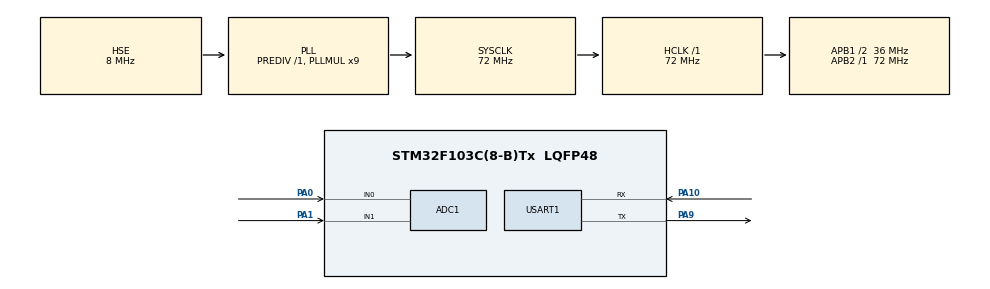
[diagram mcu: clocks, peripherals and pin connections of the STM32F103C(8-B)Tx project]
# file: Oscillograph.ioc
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ADC1.Channel-0\#ChannelRegularConversion=ADC_CHANNEL_0
ADC1.Channel-1\#ChannelRegularConversion=ADC_CHANNEL_1
ADC1.ExternalTrigConv=ADC_EXTERNALTRIGCONV_T2_CC2
ADC1.NbrOfConversion=2
ADC1.NbrOfConversionFlag=1
ADC1.Rank-0\#ChannelRegularConversion=1
ADC1.Rank-1\#ChannelRegularConversion=2
ADC1.SamplingTime-0\#ChannelRegularConversion=ADC_SAMPLETIME_1CYCLE_5
ADC1.SamplingTime-1\#ChannelRegularConversion=ADC_SAMPLETIME_1CYCLE_5
ADC1.master=1
Dma.ADC1.0.Direction=DMA_PERIPH_TO_MEMORY
Dma.ADC1.0.Instance=DMA1_Channel1
Dma.ADC1.0.MemDataAlignment=DMA_MDATAALIGN_HALFWORD
Dma.ADC1.0.MemInc=DMA_MINC_ENABLE
Dma.ADC1.0.Mode=DMA_CIRCULAR
Dma.ADC1.0.PeriphDataAlignment=DMA_PDATAALIGN_HALFWORD
Dma.ADC1.0.PeriphInc=DMA_PINC_DISABLE
Dma.ADC1.0.Priority=DMA_PRIORITY_LOW
Dma.Request0=ADC1
Mcu.Family=STM32F1
Mcu.Name=STM32F103C(8-B)Tx
Mcu.Package=LQFP48
NVIC.ADC1_2_IRQn=true\:0\:0\:false\:false\:true\:true\:true\:true
NVIC.DMA1_Channel1_IRQn=true\:0\:0\:false\:false\:true\:false\:true\:true
NVIC.PriorityGroup=NVIC_PRIORITYGROUP_4
NVIC.TIM2_IRQn=true\:0\:0\:false\:false\:true\:true\:true\:true
NVIC.TIM3_IRQn=true\:0\:0\:false\:false\:true\:true\:true\:true
PA0-WKUP.Signal=ADCx_IN0
PA1.Signal=ADCx_IN1
PA10.Mode=Asynchronous
PA10.Signal=USART1_RX
PA9.Mode=Asynchronous
PA9.Signal=USART1_TX
PC14-OSC32_IN.Mode=LSE-External-Oscillator
PC14-OSC32_IN.Signal=RCC_OSC32_IN
PC15-OSC32_OUT.Mode=LSE-External-Oscillator
PC15-OSC32_OUT.Signal=RCC_OSC32_OUT
PD0-OSC_IN.Mode=HSE-External-Oscillator
PD0-OSC_IN.Signal=RCC_OSC_IN
PD1-OSC_OUT.Mode=HSE-External-Oscillator
PD1-OSC_OUT.Signal=RCC_OSC_OUT
ProjectManager.HeapSize=0x200
ProjectManager.StackSize=0x400
ProjectManager.TargetToolchain=MDK-ARM V5.32
RCC.ADCPresc=RCC_ADCPCLK2_DIV6
RCC.AHBFreq_Value=72000000
RCC.APB1CLKDivider=RCC_HCLK_DIV2
RCC.APB1Freq_Value=36000000
RCC.APB1TimFreq_Value=72000000
RCC.APB2Freq_Value=72000000
RCC.APB2TimFreq_Value=72000000
RCC.HCLKFreq_Value=72000000
RCC.PLLMUL=RCC_PLL_MUL9
RCC.PLLSourceVirtual=RCC_PLLSOURCE_HSE
RCC.SYSCLKFreq_VALUE=72000000
RCC.SYSCLKSource=RCC_SYSCLKSOURCE_PLLCLK
RCC.USBFreq_Value=72000000
SH.ADCx_IN0.0=ADC1_IN0,IN0
SH.ADCx_IN1.0=ADC1_IN1,IN1
TIM2.AutoReloadPreload=TIM_AUTORELOAD_PRELOAD_ENABLE
TIM2.Channel-PWM\ Generation2\ No\ Output=TIM_CHANNEL_2
TIM2.OC2Preload_PWM=ENABLE
TIM2.OCMode_PWM-PWM\ Generation2\ No\ Output=TIM_OCMODE_PWM1
TIM2.Period=10000-1
TIM2.Prescaler=7200-1
TIM2.Pulse-PWM\ Generation2\ No\ Output=5000
TIM2.TIM_MasterOutputTrigger=TIM_TRGO_OC2REF
TIM3.AutoReloadPreload=TIM_AUTORELOAD_PRELOAD_ENABLE
TIM3.Period=10000-1
TIM3.Prescaler=7200-1
TIM3.TIM_MasterOutputTrigger=TIM_TRGO_UPDATE
USART1.VirtualMode=VM_ASYNC
VP_SYS_VS_ND.Mode=No_Debug
VP_TIM2_VS_ClockSourceINT.Mode=Internal
VP_TIM2_VS_no_output2.Mode=PWM Generation2 No Output
VP_TIM3_VS_ClockSourceINT.Mode=Internal
board=custom

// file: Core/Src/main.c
/* USER CODE BEGIN Header */
/**
 ******************************************************************************
 * @file           : main.c
 * @brief          : Main program body
 ******************************************************************************
 * @attention
 *
 * Copyright (c) 2023 STMicroelectronics.
 * All rights reserved.
 *
 * This software is licensed under terms that can be found in the LICENSE file
 * in the root directory of this software component.
 * If no LICENSE file comes with this software, it is provided AS-IS.
 *
 ******************************************************************************
 */
/* USER CODE END Header */
#include "main.h"
#include "adc.h"
#include "dma.h"
#include "tim.h"
#include "usart.h"
#include "gpio.h"

/* USER CODE BEGIN Includes */

#include "stdio.h"
#include "test.h"
#include "tftled.h"
/* USER CODE END Includes */

void SystemClock_Config(void);
/* USER CODE BEGIN PFP */
void DMA_Get_Ok(DMA_HandleTypeDef *hdma)
{
  printf("ok \n");
}
/* USER CODE END PFP */

int main(void)
{

  /* MCU Configuration--------------------------------------------------------*/

  /* Reset of all peripherals, Initializes the Flash interface and the Systick. */
  HAL_Init();

  /* Configure the system clock */
  SystemClock_Config();

  /* Initialize all configured peripherals */
  MX_GPIO_Init();
  MX_DMA_Init();
  MX_ADC1_Init();
  MX_USART1_UART_Init();
  MX_TIM3_Init();
  MX_TIM2_Init();

  /* Infinite loop */
  /* USER CODE BEGIN WHILE */
  // HAL_TIM_Base_Start_IT(&htim3);

  // HAL_TIM_Base_Start_IT(&htim2);
  // __HAL_TIM_SET_COUNTER(&htim2, 0);
  HAL_TIM_PWM_Start_IT(&htim2, TIM_CHANNEL_2);
  HAL_ADCEx_Calibration_Start(&hadc1);
  HAL_ADC_Start(&hadc1);
  HAL_ADC_Start_DMA(&hadc1, (uint32_t *)&ADC_Buffer, ADC_BUFFER_LEN);
  hdma_adc1.XferCpltCallback = DMA_Get_Ok;

  LCD_Init();
  while (1)
  {
    Test_Color();
		Test_FillRec();
		Test_Circle();
		Test_Triangle();
		English_Font_test();
		Pic_test();
		// Rotate_Test();
    /* USER CODE END WHILE */

  }
}

void SystemClock_Config(void)
{
  RCC_OscInitTypeDef RCC_OscInitStruct = {0};
  RCC_ClkInitTypeDef RCC_ClkInitStruct = {0};
  RCC_PeriphCLKInitTypeDef PeriphClkInit = {0};

  /** Initializes the RCC Oscillators according to the specified parameters
  * in the RCC_OscInitTypeDef structure.
  */
  RCC_OscInitStruct.OscillatorType = RCC_OSCILLATORTYPE_HSE;
  RCC_OscInitStruct.HSEState = RCC_HSE_ON;
  RCC_OscInitStruct.HSEPredivValue = RCC_HSE_PREDIV_DIV1;
  RCC_OscInitStruct.HSIState = RCC_HSI_ON;
  RCC_OscInitStruct.PLL.PLLState = RCC_PLL_ON;
  RCC_OscInitStruct.PLL.PLLSource = RCC_PLLSOURCE_HSE;
  RCC_OscInitStruct.PLL.PLLMUL = RCC_PLL_MUL9;
  if (HAL_RCC_OscConfig(&RCC_OscInitStruct) != HAL_OK)
  {
    Error_Handler();
  }

  /** Initializes the CPU, AHB and APB buses clocks
  */
  RCC_ClkInitStruct.ClockType = RCC_CLOCKTYPE_HCLK|RCC_CLOCKTYPE_SYSCLK
                              |RCC_CLOCKTYPE_PCLK1|RCC_CLOCKTYPE_PCLK2;
  RCC_ClkInitStruct.SYSCLKSource = RCC_SYSCLKSOURCE_PLLCLK;
  RCC_ClkInitStruct.AHBCLKDivider = RCC_SYSCLK_DIV1;
  RCC_ClkInitStruct.APB1CLKDivider = RCC_HCLK_DIV2;
  RCC_ClkInitStruct.APB2CLKDivider = RCC_HCLK_DIV1;

  if (HAL_RCC_ClockConfig(&RCC_ClkInitStruct, FLASH_LATENCY_2) != HAL_OK)
  {
    Error_Handler();
  }
  PeriphClkInit.PeriphClockSelection = RCC_PERIPHCLK_ADC;
  PeriphClkInit.AdcClockSelection = RCC_ADCPCLK2_DIV6;
  if (HAL_RCCEx_PeriphCLKConfig(&PeriphClkInit) != HAL_OK)
  {
    Error_Handler();
  }
}

void Error_Handler(void)
{
  __disable_irq();
  while (1)
  {
  }
}
